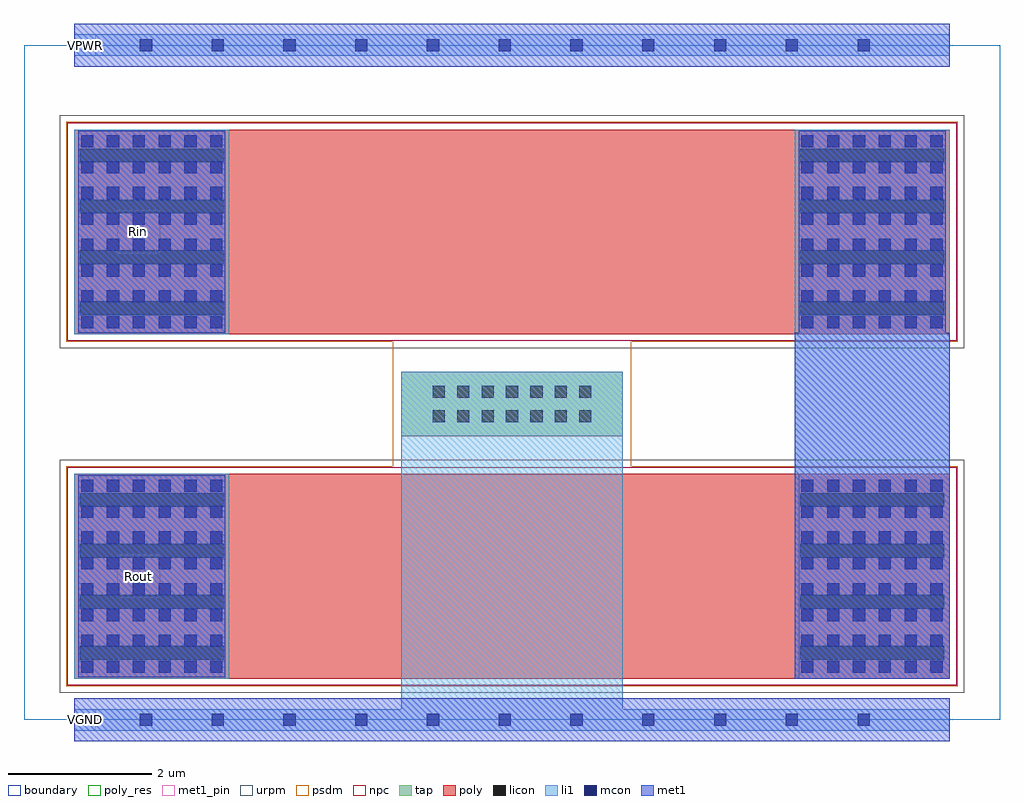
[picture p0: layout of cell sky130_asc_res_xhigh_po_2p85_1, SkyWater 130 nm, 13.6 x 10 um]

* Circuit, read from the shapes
.subckt sky130_asc_res_xhigh_po_2p85_1 Rin Rout VGND VPWR
XR1 n1 Rout VGND sky130_fd_pr__res_xhigh_po w=2.85 l=7.88
XR2 n1 Rin VGND sky130_fd_pr__res_xhigh_po w=2.85 l=7.88
.ends

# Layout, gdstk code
import gdstk
lib = gdstk.Library(unit=1e-6, precision=1e-09)
def R(c, l, rs):  # rectangles x0, y0, x1, y1
    for r in rs: c.add(gdstk.rectangle(r[:2], r[2:], *l))
def A(c, l, x, y, w, h, nx, ny, dx, dy):  # array of equal rectangles
    R(c, l, [(x+i*dx, y+j*dy, x+i*dx+w, y+j*dy+h) for i in range(nx) for j in range(ny)])
tap = (65, 44)
poly_res = (66, 13)
poly = (66, 20)
licon = (66, 44)
li1 = (67, 20)
mcon = (67, 44)
met1_pin = (68, 16)
met1 = (68, 20)
urpm = (79, 20)
psdm = (94, 20)
npc = (95, 20)
boundary = (235, 4)

sky130_asc_res_xhigh_po_ = lib.new_cell('sky130_asc_res_xhigh_po_2p85_1')
R(sky130_asc_res_xhigh_po_, tap, [(5.26,3.95,8.34,4.85)])
R(sky130_asc_res_xhigh_po_, poly_res, [(2.8,0.575,10.8,3.425), (2.8,5.375,10.8,8.225)])
R(sky130_asc_res_xhigh_po_, poly, [(0.7,0.575,12.9,3.425), (0.7,5.375,12.9,8.225)])
A(sky130_asc_res_xhigh_po_, licon, 0.78, 0.84, 2, 0.19, 1, 4, 0, 0.71)
A(sky130_asc_res_xhigh_po_, licon, 10.82, 0.84, 2, 0.19, 1, 4, 0, 0.71)
A(sky130_asc_res_xhigh_po_, licon, 5.695, 4.145, 0.17, 0.17, 7, 2, 0.34, 0.34)
A(sky130_asc_res_xhigh_po_, licon, 0.78, 5.64, 2, 0.19, 1, 4, 0, 0.71)
A(sky130_asc_res_xhigh_po_, licon, 10.82, 5.64, 2, 0.19, 1, 4, 0, 0.71)
R(sky130_asc_res_xhigh_po_, li1, [(0.7,-0.15,12.9,0.15), (5.26,0.15,8.34,4.85), (0.7,0.575,2.86,3.425), (10.74,0.575,12.9,8.225), (0.7,5.375,2.86,8.225), (0.7,9.25,12.9,9.55)])
A(sky130_asc_res_xhigh_po_, mcon, 1.615, -0.085, 0.17, 0.17, 11, 2, 1, 9.4)
A(sky130_asc_res_xhigh_po_, mcon, 0.795, 0.655, 0.17, 0.17, 6, 8, 0.36, 0.36)
A(sky130_asc_res_xhigh_po_, mcon, 10.83, 0.655, 0.17, 0.17, 6, 8, 0.36, 0.36)
A(sky130_asc_res_xhigh_po_, mcon, 0.795, 5.455, 0.17, 0.17, 6, 8, 0.36, 0.36)
A(sky130_asc_res_xhigh_po_, mcon, 10.83, 5.455, 0.17, 0.17, 6, 8, 0.36, 0.36)
R(sky130_asc_res_xhigh_po_, met1_pin, [(0.7,-0.15,1,0.15), (1.3,1.7,1.9,2.3), (1.3,6.5,1.9,7.1), (0.7,9.25,1,9.55)])
R(sky130_asc_res_xhigh_po_, met1, [(0.7,-0.3,12.9,0.3), (10.74,0.575,12.9,5.395), (0.755,0.595,2.805,3.405), (0.755,5.395,2.805,8.205), (10.795,5.395,12.845,8.205), (0.7,9.1,12.9,9.7)])
R(sky130_asc_res_xhigh_po_, urpm, [(0.5,0.375,13.1,3.625), (0.5,5.175,13.1,8.425)])
R(sky130_asc_res_xhigh_po_, psdm, [(0.59,0.465,13.01,3.535), (5.135,3.535,8.465,5.265), (0.59,5.265,13.01,8.335)])
R(sky130_asc_res_xhigh_po_, npc, [(0.605,0.48,12.995,3.52), (0.605,5.28,12.995,8.32)])
R(sky130_asc_res_xhigh_po_, boundary, [(0,0,13.6,9.4)])
sky130_asc_res_xhigh_po_.add(gdstk.Label('Rin', (1.6,6.8), layer=68, texttype=16))
sky130_asc_res_xhigh_po_.add(gdstk.Label('Rout', (1.6,2), layer=68, texttype=16))
sky130_asc_res_xhigh_po_.add(gdstk.Label('VPWR', (0.85,9.4), layer=68, texttype=16))
sky130_asc_res_xhigh_po_.add(gdstk.Label('VGND', (0.85,0), layer=68, texttype=16))

lib.write_gds('sky130_asc_res_xhigh_po_2p85_1.gds')
